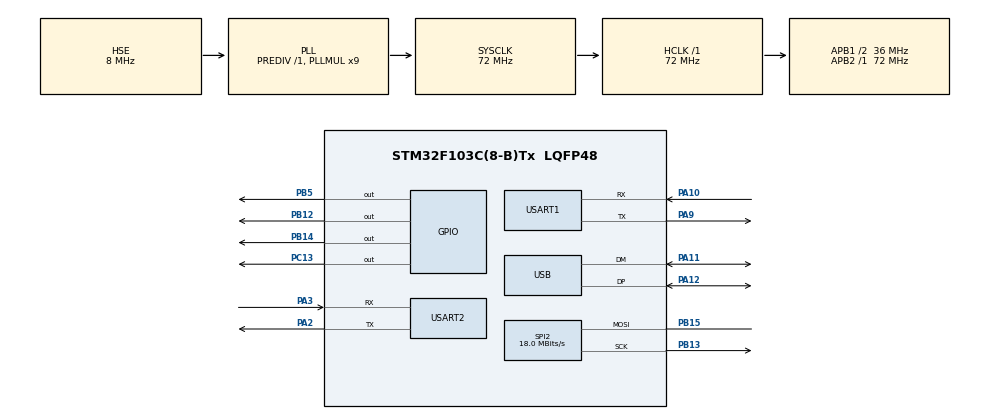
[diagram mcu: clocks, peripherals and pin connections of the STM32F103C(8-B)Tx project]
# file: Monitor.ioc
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Mcu.Family=STM32F1
Mcu.Name=STM32F103C(8-B)Tx
Mcu.Package=LQFP48
NVIC.PriorityGroup=NVIC_PRIORITYGROUP_4
NVIC.TIM1_UP_IRQn=true\:0\:0\:false\:false\:true\:false\:true
NVIC.TimeBase=TIM1_UP_IRQn
NVIC.TimeBaseIP=TIM1
NVIC.USART1_IRQn=true\:0\:0\:false\:false\:true\:true\:true
NVIC.USART2_IRQn=true\:0\:0\:false\:false\:true\:true\:true
NVIC.USB_LP_CAN1_RX0_IRQn=true\:0\:0\:false\:false\:true\:false\:true
PA10.GPIO_PuPd=GPIO_PULLUP
PA10.Mode=Asynchronous
PA10.Signal=USART1_RX
PA11.Mode=Device
PA11.Signal=USB_DM
PA12.Mode=Device
PA12.Signal=USB_DP
PA13.Mode=Serial_Wire
PA13.Signal=SYS_JTMS-SWDIO
PA14.Mode=Serial_Wire
PA14.Signal=SYS_JTCK-SWCLK
PA2.Mode=Asynchronous
PA2.Signal=USART2_TX
PA3.GPIO_PuPd=GPIO_PULLUP
PA3.Mode=Asynchronous
PA3.Signal=USART2_RX
PA9.Mode=Asynchronous
PA9.Signal=USART1_TX
PB12.Signal=GPIO_Output
PB13.Mode=Simplex_Bidirectional_Master
PB13.Signal=SPI2_SCK
PB14.Signal=GPIO_Output
PB15.Mode=Simplex_Bidirectional_Master
PB15.Signal=SPI2_MOSI
PB5.Signal=GPIO_Output
PC13-TAMPER-RTC.Signal=GPIO_Output
PD0-OSC_IN.Mode=HSE-External-Oscillator
PD0-OSC_IN.Signal=RCC_OSC_IN
PD1-OSC_OUT.Mode=HSE-External-Oscillator
PD1-OSC_OUT.Signal=RCC_OSC_OUT
ProjectManager.HeapSize=0x400
ProjectManager.StackSize=0x800
ProjectManager.TargetToolchain=MDK-ARM V5
RCC.ADCPresc=RCC_ADCPCLK2_DIV8
RCC.AHBFreq_Value=72000000
RCC.APB1CLKDivider=RCC_HCLK_DIV2
RCC.APB1Freq_Value=36000000
RCC.APB1TimFreq_Value=72000000
RCC.APB2Freq_Value=72000000
RCC.APB2TimFreq_Value=72000000
RCC.HCLKFreq_Value=72000000
RCC.PLLMUL=RCC_PLL_MUL9
RCC.PLLSourceVirtual=RCC_PLLSOURCE_HSE
RCC.SYSCLKFreq_VALUE=72000000
RCC.SYSCLKSource=RCC_SYSCLKSOURCE_PLLCLK
RCC.USBFreq_Value=48000000
RCC.USBPrescaler=RCC_USBCLKSOURCE_PLL_DIV1_5
SPI2.BaudRatePrescaler=SPI_BAUDRATEPRESCALER_2
SPI2.CalculateBaudRate=18.0 MBits/s
SPI2.Direction=SPI_DIRECTION_1LINE
SPI2.Mode=SPI_MODE_MASTER
SPI2.VirtualType=VM_MASTER
USART1.VirtualMode=VM_ASYNC
USART2.VirtualMode=VM_ASYNC
USB_DEVICE.CLASS_NAME_FS=MSC
USB_DEVICE.VirtualMode=Msc
USB_DEVICE.VirtualModeFS=Msc_FS
VP_FATFS_VS_Generic.Mode=User_defined
VP_SYS_VS_tim1.Mode=TIM1
VP_USB_DEVICE_VS_USB_DEVICE_MSC_FS.Mode=MSC_FS
board=custom

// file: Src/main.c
/* USER CODE BEGIN Header */
/**
  ******************************************************************************
  * @file           : main.c
  * @brief          : Main Debug Monitor program body
	*
	*	<C> <Lion>
	*
	*
	* Input:
	*			UART1 - 115200 8n1
	*			UART2 - 115200 8n1
	* Oupput:
	*			Display 128x160
	*
	* 2019 01 11	v1.0
	*
	*
	*
  ******************************************************************************
  ** This notice applies to any and all portions of this file
  * that are not between comment pairs USER CODE BEGIN and
  * USER CODE END. Other portions of this file, whether
  * inserted by the user or by software development tools
  * are owned by their respective copyright owners.
  *
  * COPYRIGHT(c) 2018 STMicroelectronics
  *
  * Redistribution and use in source and binary forms, with or without modification,
  * are permitted provided that the following conditions are met:
  *   1. Redistributions of source code must retain the above copyright notice,
  *      this list of conditions and the following disclaimer.
  *   2. Redistributions in binary form must reproduce the above copyright notice,
  *      this list of conditions and the following disclaimer in the documentation
  *      and/or other materials provided with the distribution.
  *   3. Neither the name of STMicroelectronics nor the names of its contributors
  *      may be used to endorse or promote products derived from this software
  *      without specific prior written permission.
  *
  * THIS SOFTWARE IS PROVIDED BY THE COPYRIGHT HOLDERS AND CONTRIBUTORS "AS IS"
  * AND ANY EXPRESS OR IMPLIED WARRANTIES, INCLUDING, BUT NOT LIMITED TO, THE
  * IMPLIED WARRANTIES OF MERCHANTABILITY AND FITNESS FOR A PARTICULAR PURPOSE ARE
  * DISCLAIMED. IN NO EVENT SHALL THE COPYRIGHT HOLDER OR CONTRIBUTORS BE LIABLE
  * FOR ANY DIRECT, INDIRECT, INCIDENTAL, SPECIAL, EXEMPLARY, OR CONSEQUENTIAL
  * DAMAGES (INCLUDING, BUT NOT LIMITED TO, PROCUREMENT OF SUBSTITUTE GOODS OR
  * SERVICES; LOSS OF USE, DATA, OR PROFITS; OR BUSINESS INTERRUPTION) HOWEVER
  * CAUSED AND ON ANY THEORY OF LIABILITY, WHETHER IN CONTRACT, STRICT LIABILITY,
  * OR TORT (INCLUDING NEGLIGENCE OR OTHERWISE) ARISING IN ANY WAY OUT OF THE USE
  * OF THIS SOFTWARE, EVEN IF ADVISED OF THE POSSIBILITY OF SUCH DAMAGE.
  *
  ******************************************************************************
  */

/* USER CODE END Header */

#include "main.h"
#include "fatfs.h"
#include "spi.h"
#include "usart.h"
#include "usb_device.h"
#include "gpio.h"

/* USER CODE BEGIN Includes */

#include <string.h>
#include "..\st7735\st7735.h"
#include "..\st7735\fonts.h"
#include "..\st7735\120x40.h"
#include "..\monitor\monitor.h"

/* USER CODE END Includes */

/* USER CODE BEGIN PV */

extern char n_string[];

/* USER CODE END PV */

void SystemClock_Config(void);

/* USER CODE BEGIN 0 */

void init() {
int i;

    ST7735_Init();

    ST7735_FillScreen(ST7735_BLACK);
	  for(int x = 0; x < ST7735_WIDTH; x++)
			ST7735_DrawPixel(x, 64, ST7735_RED);

/*
#define Font 1 10
#define uart1_line1 128-Font-1
#define uart1_line2 128-Font*2-1
#define uart1_line3 128-Font*3-1
#define uart1_line4 128-Font*4-1
#define uart1_line5 128-Font*5-1

#define uart2_line1 64-Font-1
#define uart2_line2 64-Font*2-1
#define uart3_line3 64-Font*3-1
#define uart4_line4 64-Font*4-1
#define uart5_line5 64-Font*5-1
*/

		ST7735_WriteString(0, 64-font_h, "2>", Font_7x10, ST7735_GREEN, ST7735_BLACK);
		ST7735_WriteString(0, 128-font_h, "1>", Font_7x10, ST7735_GREEN, ST7735_BLACK);

		for(i=0; i<num_char_in_line; i++)
			n_string[i] = ' ';
		n_string[i] = 0;

}

	char rxbyte1=0;
	char rxbyte2=0;

/* USER CODE END 0 */

int main(void)
{
  /* USER CODE BEGIN 1 */

	/*char rxbyte=0;*/

  /* USER CODE END 1 */

  /* MCU Configuration--------------------------------------------------------*/

  /* Reset of all peripherals, Initializes the Flash interface and the Systick. */
  HAL_Init();

  /* Configure the system clock */
  SystemClock_Config();

  /* Initialize all configured peripherals */
  MX_GPIO_Init();
  MX_USART1_UART_Init();
  MX_USART2_UART_Init();
  MX_SPI2_Init();
  MX_FATFS_Init();
  MX_USB_DEVICE_Init();
  /* USER CODE BEGIN 2 */

		//Start programm - Diod Blinking

		HAL_GPIO_WritePin(GPIOC, GPIO_PIN_13, GPIO_PIN_RESET);
		HAL_Delay(500);
		HAL_GPIO_WritePin(GPIOC, GPIO_PIN_13, GPIO_PIN_SET);
		HAL_Delay(500);

		init();

  /* USER CODE END 2 */

  /* Infinite loop */
  /* USER CODE BEGIN WHILE */

	HAL_UART_Receive_IT(&huart1,(uint8_t *) &rxbyte1, 1);	// 	Start receive process
																												//	All Next Receive in stm32f1zz_it.c
																												//  in function void USART1_IRQHandler(void)
	HAL_UART_Receive_IT(&huart2,(uint8_t *) &rxbyte2, 1);

  while (1)
  {
    /* USER CODE END WHILE */

  }
}

void SystemClock_Config(void)
{
  RCC_OscInitTypeDef RCC_OscInitStruct = {0};
  RCC_ClkInitTypeDef RCC_ClkInitStruct = {0};
  RCC_PeriphCLKInitTypeDef PeriphClkInit = {0};

  /**Initializes the CPU, AHB and APB busses clocks
  */
  RCC_OscInitStruct.OscillatorType = RCC_OSCILLATORTYPE_HSE;
  RCC_OscInitStruct.HSEState = RCC_HSE_ON;
  RCC_OscInitStruct.HSEPredivValue = RCC_HSE_PREDIV_DIV1;
  RCC_OscInitStruct.HSIState = RCC_HSI_ON;
  RCC_OscInitStruct.PLL.PLLState = RCC_PLL_ON;
  RCC_OscInitStruct.PLL.PLLSource = RCC_PLLSOURCE_HSE;
  RCC_OscInitStruct.PLL.PLLMUL = RCC_PLL_MUL9;
  if (HAL_RCC_OscConfig(&RCC_OscInitStruct) != HAL_OK)
  {
    Error_Handler();
  }
  /**Initializes the CPU, AHB and APB busses clocks
  */
  RCC_ClkInitStruct.ClockType = RCC_CLOCKTYPE_HCLK|RCC_CLOCKTYPE_SYSCLK
                              |RCC_CLOCKTYPE_PCLK1|RCC_CLOCKTYPE_PCLK2;
  RCC_ClkInitStruct.SYSCLKSource = RCC_SYSCLKSOURCE_PLLCLK;
  RCC_ClkInitStruct.AHBCLKDivider = RCC_SYSCLK_DIV1;
  RCC_ClkInitStruct.APB1CLKDivider = RCC_HCLK_DIV2;
  RCC_ClkInitStruct.APB2CLKDivider = RCC_HCLK_DIV1;

  if (HAL_RCC_ClockConfig(&RCC_ClkInitStruct, FLASH_LATENCY_2) != HAL_OK)
  {
    Error_Handler();
  }
  PeriphClkInit.PeriphClockSelection = RCC_PERIPHCLK_USB;
  PeriphClkInit.UsbClockSelection = RCC_USBCLKSOURCE_PLL_DIV1_5;
  if (HAL_RCCEx_PeriphCLKConfig(&PeriphClkInit) != HAL_OK)
  {
    Error_Handler();
  }
}

void HAL_TIM_PeriodElapsedCallback(TIM_HandleTypeDef *htim)
{
  if (htim->Instance == TIM1) {
    HAL_IncTick();
  }
}

void Error_Handler(void)
{
}

/************************ (C) COPYRIGHT STMicroelectronics *****END OF FILE****/
